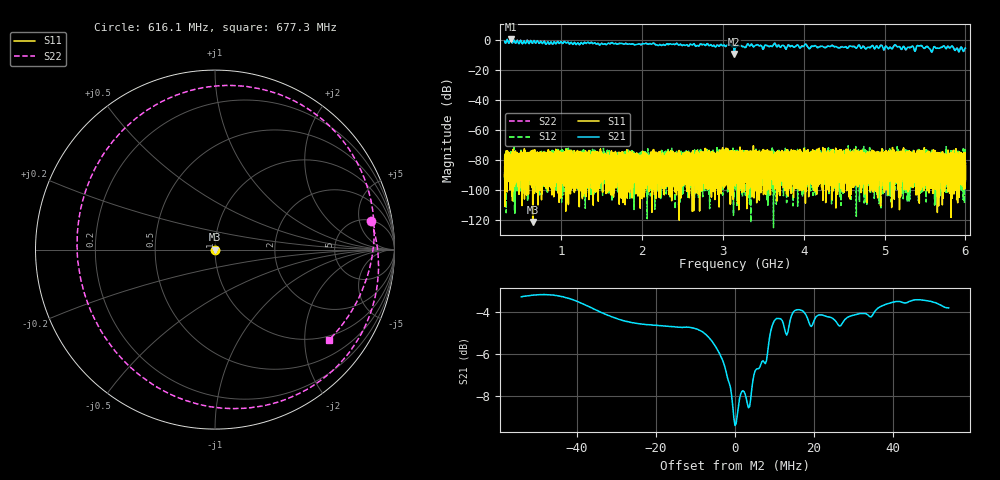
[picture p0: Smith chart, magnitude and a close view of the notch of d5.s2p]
!Agilent Technologies,N5230C,SG49000117,A.08.50.07
!Agilent N5230C: A.08.50.07
!Date: Monday, March 18, 2024 19:21:02
!Correction: S11(Off)
!S21(Off)
!S12(Off)
!S22(Off)
!S2P File: Measurements: S11, S21, S12, S22:
# Hz S  RI  R 50
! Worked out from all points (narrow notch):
!   20001 points, 300 MHz to 6 GHz, reference 50 ohm
!   highest |S21| = 0.43 dB at 373.8 MHz (marker M1); lowest = -9.4 dB at 3.14 GHz (marker M2)
!   notch at M2: 5.6 dB deep, 9.03 MHz wide at half that depth
!   lowest |S11| = -121.3 dB at 647.7 MHz (marker M3), VSWR 1.00, Z = 50 + j8.3e-05 ohm
!   |S11| at or under -10 dB: start of sweep to end of sweep
!   |S22| runs from -9.4 to 0.5 dB; largest |S21 - S12| = 1.1
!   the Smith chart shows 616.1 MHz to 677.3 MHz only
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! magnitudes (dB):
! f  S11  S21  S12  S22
! 300 MHz  -88.5  -1.0  -93.1  -1.0
! 373.8 MHz  -78.5  0.4  -87.2  0.5
! 647.7 MHz  -121.3  -2.2  -79.9  -2.2
! 1.25 GHz  -82.1  -1.8  -75.1  -1.8
! 2.2 GHz  -81.6  -3.9  -78.3  -3.9
! 3.076 GHz  -96.4  -3.6  -81.9  -3.6
! 3.14 GHz  -81.5  -9.4  -80.0  -9.4
! 3.15 GHz  -80.8  -4.5  -86.7  -4.5
! 3.33 GHz  -86.6  -4.2  -86.9  -4.1
! 3.485 GHz  -82.2  -4.8  -94.1  -4.8
! 3.634 GHz  -80.0  -2.6  -81.3  -2.5
! 3.774 GHz  -85.6  -5.8  -84.3  -5.7
! 4.017 GHz  -86.9  -3.0  -80.9  -2.9
! 4.1 GHz  -87.7  -4.2  -83.2  -4.1
! 5.05 GHz  -77.0  -5.9  -83.7  -5.9
! 5.138 GHz  -84.3  -3.6  -77.4  -3.6
! 5.372 GHz  -81.5  -7.3  -82.2  -7.3
! 5.432 GHz  -82.8  -4.1  -81.8  -4.1
! 5.574 GHz  -92.7  -7.3  -75.9  -7.3
! 5.72 GHz  -91.8  -4.5  -81.2  -4.6
! 5.898 GHz  -105.9  -5.6  -80.2  -5.7
! 6 GHz  -83.7  -5.5  -85.8  -5.6
